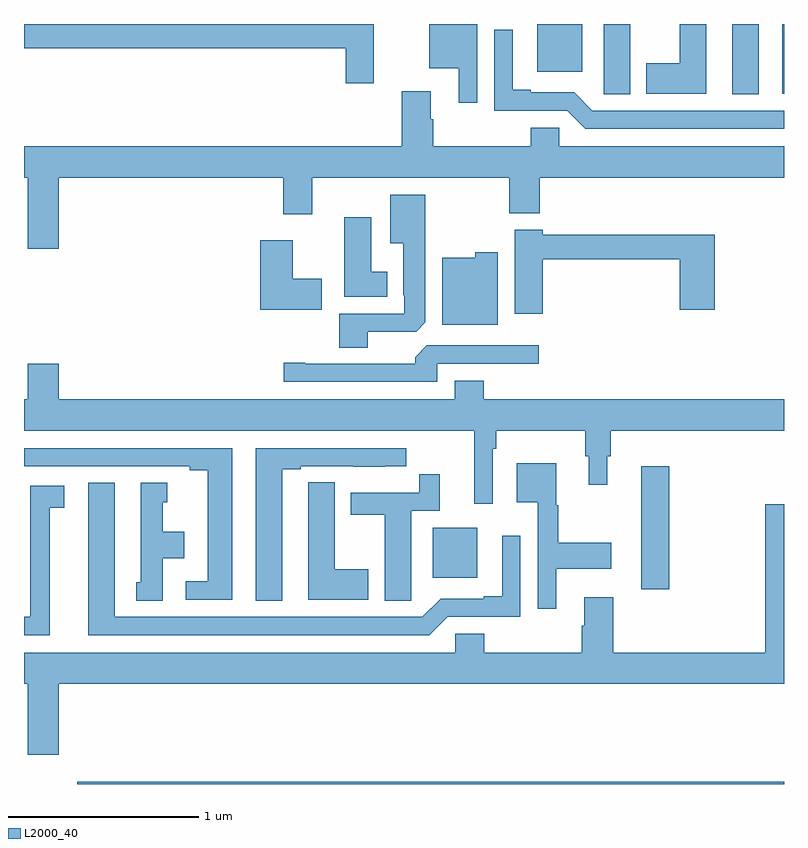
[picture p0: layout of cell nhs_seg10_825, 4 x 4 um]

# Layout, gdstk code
import gdstk
lib = gdstk.Library(unit=1e-6, precision=1e-09)
def R(c, l, rs):  # rectangles x0, y0, x1, y1
    for r in rs: c.add(gdstk.rectangle(r[:2], r[2:], *l))
def P(c, l, *ps):  # polygons
    for p in ps: c.add(gdstk.Polygon(p, *l))
L2000_40 = (2000, 40)

nhs_seg10_825 = lib.new_cell('nhs_seg10_825')
R(nhs_seg10_825, L2000_40, [(153.28,1254.5,157,1254.512), (156.248,1255.524,156.395,1256.173), (155.15,1255.586,155.386,1255.849), (156.728,1258.129,156.868,1258.5), (156.992,1258.134,157,1258.5), (155.702,1258.25,155.938,1258.5)])
P(nhs_seg10_825, L2000_40, [(154.84,1258.5),(153,1258.5),(153,1258.372),(154.694,1258.372),(154.694,1258.188),(154.84,1258.188)],
  [(155.385,1258.5),(155.132,1258.5),(155.132,1258.268),(155.288,1258.268),(155.288,1258.086),(155.385,1258.086)],
  [(156.19,1258.5),(156.05,1258.5),(156.05,1258.24),(156.051,1258.24),(156.051,1258.129),(156.19,1258.129)],
  [(156.592,1258.5),(156.452,1258.5),(156.452,1258.293),(156.275,1258.293),(156.275,1258.133),(156.592,1258.133)],
  [(157,1258.044),(155.991,1258.044),(155.895,1258.14),(155.668,1258.14),(155.668,1258.153),(155.572,1258.153),(155.572,1258.471),(155.475,1258.471),(155.475,1258.044),(155.859,1258.044),(155.955,1257.948),(157,1257.948)],
  [(153.184,1257.692),(154.364,1257.692),(154.364,1257.498),(154.516,1257.498),(154.516,1257.692),(155.554,1257.692),(155.554,1257.503),(155.714,1257.503),(155.714,1257.692),(157,1257.692),(157,1257.856),(155.817,1257.856),(155.817,1257.954),(155.666,1257.954),(155.666,1257.856),(155.153,1257.856),(155.153,1257.998),(155.14,1257.998),(155.14,1258.147),(154.988,1258.147),(154.988,1257.856),(153,1257.856),(153,1257.692),(153.02,1257.692),(153.02,1257.318),(153.184,1257.318)],
  [(154.81,1256.88),(155.064,1256.88),(155.113,1256.929),(155.113,1257.601),(154.928,1257.601),(154.928,1257.347),(154.997,1257.347),(154.997,1257.073),(155.001,1257.073),(155.001,1256.976),(154.658,1256.976),(154.658,1256.797),(154.81,1256.797)],
  [(154.912,1257.196),(154.828,1257.196),(154.828,1257.484),(154.685,1257.484),(154.685,1257.065),(154.912,1257.065)],
  [(155.729,1257.262),(156.452,1257.262),(156.452,1256.997),(156.635,1256.997),(156.635,1257.391),(155.729,1257.391),(155.729,1257.418),(155.582,1257.418),(155.582,1256.976),(155.729,1256.976)],
  [(154.567,1257.159),(154.414,1257.159),(154.414,1257.361),(154.244,1257.361),(154.244,1256.996),(154.567,1256.996)],
  [(155.494,1257.298),(155.376,1257.298),(155.376,1257.271),(155.201,1257.271),(155.201,1256.918),(155.494,1256.918)],
  [(155.175,1256.712),(155.71,1256.712),(155.71,1256.808),(155.121,1256.808),(155.06,1256.746),(155.06,1256.712),(154.48,1256.712),(154.48,1256.717),(154.368,1256.717),(154.368,1256.616),(155.175,1256.616)],
  [(155.466,1256.264),(155.486,1256.264),(155.486,1256.36),(155.953,1256.36),(155.953,1256.226),(155.972,1256.226),(155.972,1256.076),(156.07,1256.076),(156.07,1256.226),(156.089,1256.226),(156.089,1256.36),(157,1256.36),(157,1256.524),(155.42,1256.524),(155.42,1256.623),(155.267,1256.623),(155.267,1256.524),(153.184,1256.524),(153.184,1256.713),(153.02,1256.713),(153.02,1256.524),(153,1256.524),(153,1256.36),(155.369,1256.36),(155.369,1255.974),(155.466,1255.974)],
  [(154.36,1256.157),(154.456,1256.157),(154.456,1256.172),(154.732,1256.172),(154.732,1256.171),(154.898,1256.171),(154.898,1256.172),(155.011,1256.172),(155.011,1256.268),(154.22,1256.268),(154.22,1255.465),(154.36,1255.465)],
  [(154.096,1256.268),(153,1256.268),(153,1256.172),(153.872,1256.172),(153.872,1256.152),(153.968,1256.152),(153.968,1255.566),(153.852,1255.566),(153.852,1255.47),(154.096,1255.47)],
  [(155.8,1255.634),(156.091,1255.634),(156.091,1255.769),(155.812,1255.769),(155.812,1255.968),(155.8,1255.968),(155.8,1256.188),(155.594,1256.188),(155.594,1255.982),(155.703,1255.982),(155.703,1255.422),(155.8,1255.422)],
  [(155.037,1255.576),(155.038,1255.576),(155.038,1255.938),(155.189,1255.938),(155.189,1256.131),(155.08,1256.131),(155.08,1256.034),(154.721,1256.034),(154.721,1255.918),(154.898,1255.918),(154.898,1255.465),(155.037,1255.465)],
  [(154.813,1255.629),(154.636,1255.629),(154.636,1256.087),(154.497,1256.087),(154.497,1255.979),(154.496,1255.979),(154.496,1255.469),(154.813,1255.469)],
  [(155.229,1255.38),(155.613,1255.38),(155.613,1255.807),(155.516,1255.807),(155.516,1255.489),(155.42,1255.489),(155.42,1255.476),(155.193,1255.476),(155.097,1255.38),(153.478,1255.38),(153.478,1256.086),(153.338,1256.086),(153.338,1255.284),(155.133,1255.284)],
  [(153.73,1255.688),(153.844,1255.688),(153.844,1255.828),(153.73,1255.828),(153.73,1255.983),(153.754,1255.983),(153.754,1256.086),(153.614,1256.086),(153.614,1255.563),(153.59,1255.563),(153.59,1255.465),(153.73,1255.465)],
  [(153.136,1255.954),(153.211,1255.954),(153.211,1256.07),(153.032,1256.07),(153.032,1255.38),(153,1255.38),(153,1255.284),(153.136,1255.284)],
  [(153.184,1255.028),(157,1255.028),(157,1255.972),(156.902,1255.972),(156.902,1255.192),(156.101,1255.192),(156.101,1255.483),(155.948,1255.483),(155.948,1255.334),(155.936,1255.334),(155.936,1255.192),(155.423,1255.192),(155.423,1255.29),(155.271,1255.29),(155.271,1255.192),(153,1255.192),(153,1255.028),(153.02,1255.028),(153.02,1254.654),(153.184,1254.654)])

lib.write_gds('nhs_seg10_825.gds')
